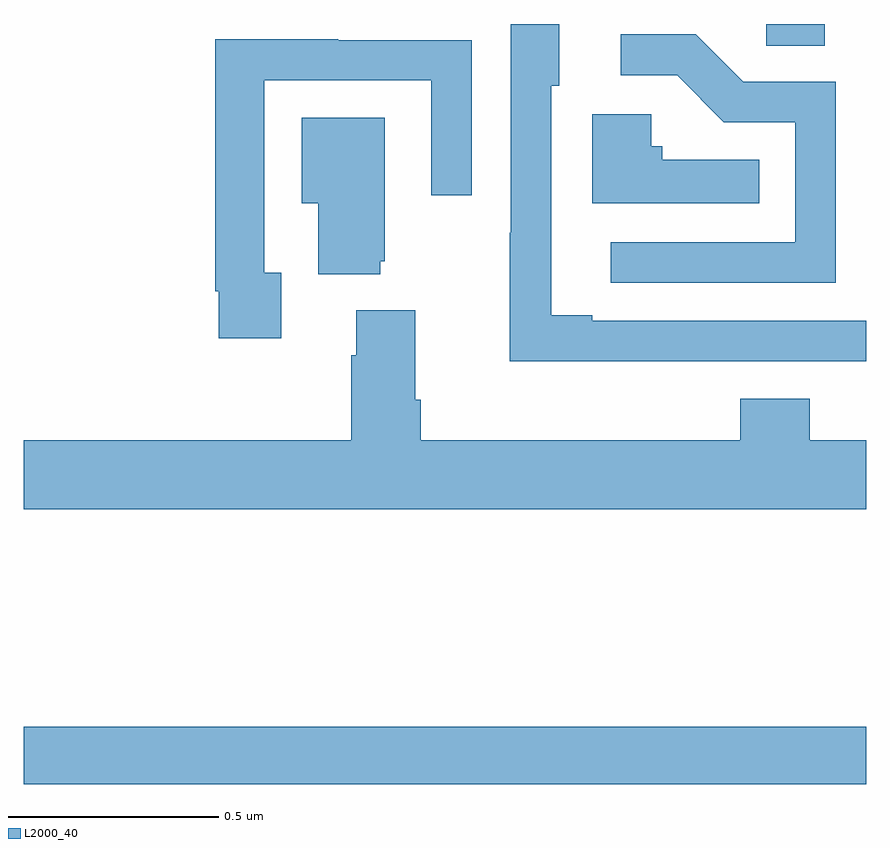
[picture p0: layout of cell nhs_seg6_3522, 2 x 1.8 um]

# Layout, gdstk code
import gdstk
lib = gdstk.Library(unit=1e-6, precision=1e-09)
def R(c, l, rs):  # rectangles x0, y0, x1, y1
    for r in rs: c.add(gdstk.rectangle(r[:2], r[2:], *l))
def P(c, l, *ps):  # polygons
    for p in ps: c.add(gdstk.Polygon(p, *l))
L2000_40 = (2000, 40)

nhs_seg6_3522 = lib.new_cell('nhs_seg6_3522')
R(nhs_seg6_3522, L2000_40, [(158,934.696,160,934.832), (159.762,936.448,159.901,936.5)])
P(nhs_seg6_3522, L2000_40, [(159.617,935.7),(160,935.7),(160,935.796),(159.349,935.796),(159.349,935.809),(159.252,935.809),(159.252,936.354),(159.271,936.354),(159.271,936.499),(159.156,936.499),(159.156,936.005),(159.154,936.005),(159.154,935.699),(159.617,935.699)],
  [(159.927,936.363),(159.708,936.363),(159.595,936.476),(159.417,936.476),(159.417,936.378),(159.551,936.378),(159.662,936.267),(159.831,936.267),(159.831,935.982),(159.393,935.982),(159.393,935.886),(159.927,935.886)],
  [(158.611,935.91),(158.571,935.91),(158.571,936.366),(158.967,936.366),(158.967,936.093),(159.063,936.093),(159.063,936.462),(158.747,936.462),(158.747,936.464),(158.455,936.464),(158.455,935.866),(158.463,935.866),(158.463,935.754),(158.611,935.754)],
  [(159.746,936.178),(159.516,936.178),(159.516,936.21),(159.489,936.21),(159.489,936.286),(159.35,936.286),(159.35,936.074),(159.746,936.074)],
  [(158.846,935.937),(158.857,935.937),(158.857,936.277),(158.66,936.277),(158.66,936.074),(158.699,936.074),(158.699,935.906),(158.846,935.906)],
  [(160,935.512),(159.866,935.512),(159.866,935.611),(159.701,935.611),(159.701,935.512),(158.942,935.512),(158.942,935.608),(158.929,935.608),(158.929,935.821),(158.789,935.821),(158.789,935.714),(158.777,935.714),(158.777,935.512),(158,935.512),(158,935.348),(160,935.348)])

lib.write_gds('nhs_seg6_3522.gds')
